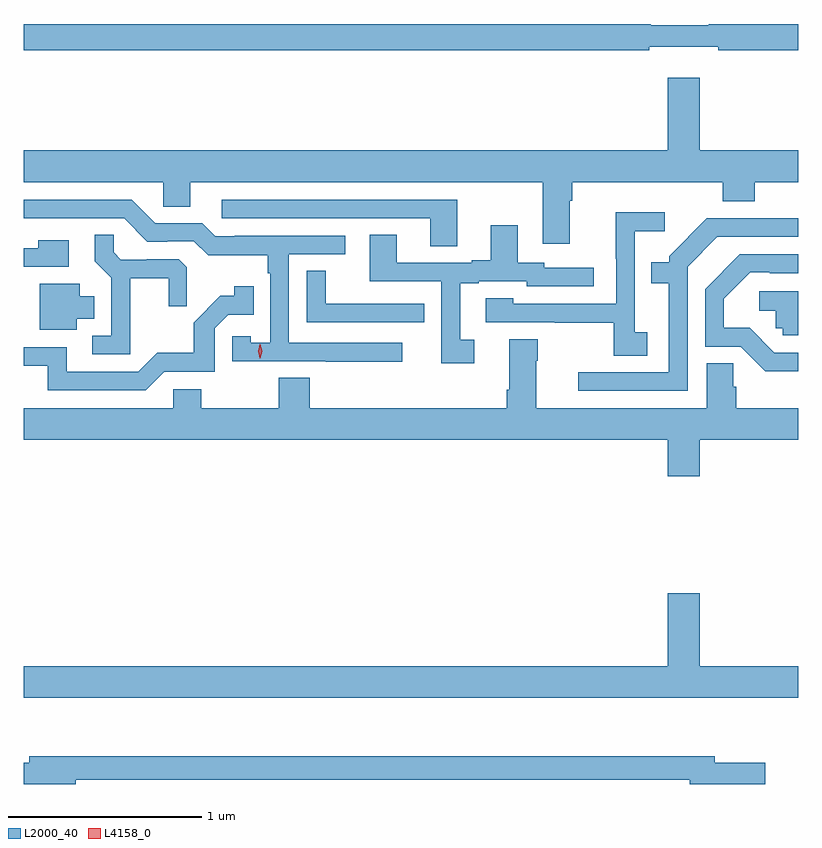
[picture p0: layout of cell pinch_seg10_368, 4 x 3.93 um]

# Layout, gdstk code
import gdstk
lib = gdstk.Library(unit=1e-6, precision=1e-09)
def P(c, l, *ps):  # polygons
    for p in ps: c.add(gdstk.Polygon(p, *l))
L2000_40 = (2000, 40)
L4158_0 = (4158, 0)

pinch_seg10_368 = lib.new_cell('pinch_seg10_368')
P(pinch_seg10_368, L2000_40, [(524.552,1274.375),(524.908,1274.375),(524.908,1274.356),(525.322,1274.356),(525.322,1274.492),(524.86,1274.492),(524.86,1274.485),(524.56,1274.485),(524.56,1274.492),(521.322,1274.492),(521.322,1274.356),(524.552,1274.356)],
  [(524.143,1273.58),(524.156,1273.58),(524.156,1273.676),(524.933,1273.676),(524.933,1273.577),(525.098,1273.577),(525.098,1273.676),(525.322,1273.676),(525.322,1273.84),(524.812,1273.84),(524.812,1274.215),(524.648,1274.215),(524.648,1273.84),(521.322,1273.84),(521.322,1273.676),(522.042,1273.676),(522.042,1273.549),(522.181,1273.549),(522.181,1273.676),(524.003,1273.676),(524.003,1273.356),(524.143,1273.356)],
  [(523.561,1273.584),(522.345,1273.584),(522.345,1273.488),(523.421,1273.488),(523.421,1273.345),(523.561,1273.345)],
  [(523.276,1272.846),(522.69,1272.846),(522.69,1273.302),(522.982,1273.302),(522.982,1273.398),(522.412,1273.398),(522.412,1273.395),(522.312,1273.395),(522.243,1273.464),(522,1273.464),(521.88,1273.584),(521.322,1273.584),(521.322,1273.488),(521.841,1273.488),(521.961,1273.368),(522.062,1273.368),(522.062,1273.371),(522.201,1273.371),(522.274,1273.298),(522.582,1273.298),(522.582,1273.205),(522.594,1273.205),(522.594,1272.847),(522.495,1272.847),(522.495,1272.879),(522.399,1272.879),(522.399,1272.75),(522.883,1272.75),(522.883,1272.748),(523.276,1272.748)],
  [(524.542,1272.9),(524.478,1272.9),(524.478,1273.421),(524.632,1273.421),(524.632,1273.519),(524.38,1273.519),(524.38,1273.28),(524.382,1273.28),(524.382,1273.047),(523.851,1273.047),(523.851,1273.075),(523.707,1273.075),(523.707,1272.951),(524.065,1272.951),(524.065,1272.949),(524.37,1272.949),(524.37,1272.778),(524.542,1272.778)],
  [(524.751,1273.239),(524.904,1273.392),(525.322,1273.392),(525.322,1273.49),(525.181,1273.49),(525.181,1273.488),(524.85,1273.488),(524.655,1273.293),(524.655,1273.261),(524.563,1273.261),(524.563,1273.152),(524.654,1273.152),(524.654,1272.693),(524.187,1272.693),(524.187,1272.597),(524.751,1272.597)],
  [(523.648,1272.861),(523.576,1272.861),(523.576,1273.152),(523.672,1273.152),(523.672,1273.164),(523.92,1273.164),(523.92,1273.137),(524.266,1273.137),(524.266,1273.233),(524.01,1273.233),(524.01,1273.26),(523.873,1273.26),(523.873,1273.453),(523.733,1273.453),(523.733,1273.273),(523.637,1273.273),(523.637,1273.26),(523.249,1273.26),(523.249,1273.403),(523.109,1273.403),(523.109,1273.164),(523.479,1273.164),(523.479,1272.741),(523.648,1272.741)],
  [(521.873,1273.178),(522.07,1273.178),(522.07,1273.035),(522.164,1273.035),(522.164,1273.237),(522.123,1273.278),(521.958,1273.278),(521.958,1273.275),(521.824,1273.275),(521.787,1273.312),(521.787,1273.403),(521.689,1273.403),(521.689,1273.267),(521.775,1273.181),(521.775,1272.882),(521.676,1272.882),(521.676,1272.786),(521.873,1272.786)],
  [(521.554,1273.375),(521.398,1273.375),(521.398,1273.335),(521.322,1273.335),(521.322,1273.239),(521.554,1273.239)],
  [(525.322,1272.795),(525.198,1272.795),(525.071,1272.922),(524.938,1272.922),(524.938,1273.072),(525.075,1273.209),(525.175,1273.209),(525.175,1273.206),(525.322,1273.206),(525.322,1273.302),(525.02,1273.302),(524.841,1273.123),(524.841,1272.825),(525.024,1272.825),(525.152,1272.698),(525.322,1272.698)],
  [(523.39,1273.046),(523.277,1273.046),(523.277,1273.047),(522.882,1273.047),(522.882,1273.217),(522.783,1273.217),(522.783,1272.951),(523.39,1272.951)],
  [(521.596,1272.971),(521.686,1272.971),(521.686,1273.087),(521.611,1273.087),(521.611,1273.15),(521.405,1273.15),(521.405,1272.914),(521.596,1272.914)],
  [(522.048,1272.696),(522.309,1272.696),(522.309,1272.921),(522.378,1272.99),(522.509,1272.99),(522.509,1273.138),(522.408,1273.138),(522.408,1273.088),(522.338,1273.088),(522.201,1272.95),(522.201,1272.795),(522.012,1272.795),(521.913,1272.696),(521.545,1272.696),(521.545,1272.822),(521.322,1272.822),(521.322,1272.726),(521.447,1272.726),(521.447,1272.6),(521.952,1272.6)],
  [(525.322,1273.113),(525.12,1273.113),(525.12,1273.01),(525.207,1273.01),(525.207,1272.921),(525.243,1272.921),(525.243,1272.885),(525.322,1272.885)],
  [(524.812,1272.344),(525.322,1272.344),(525.322,1272.508),(525.002,1272.508),(525.002,1272.618),(524.987,1272.618),(524.987,1272.74),(524.849,1272.74),(524.849,1272.508),(523.969,1272.508),(523.969,1272.752),(523.977,1272.752),(523.977,1272.865),(523.829,1272.865),(523.829,1272.604),(523.817,1272.604),(523.817,1272.508),(522.8,1272.508),(522.8,1272.665),(522.64,1272.665),(522.64,1272.508),(522.24,1272.508),(522.24,1272.606),(522.093,1272.606),(522.093,1272.508),(521.322,1272.508),(521.322,1272.344),(524.648,1272.344),(524.648,1272.156),(524.812,1272.156)],
  [(525.322,1271.176),(524.812,1271.176),(524.812,1271.551),(524.648,1271.551),(524.648,1271.176),(521.322,1271.176),(521.322,1271.012),(525.322,1271.012)],
  [(521.59,1270.59),(524.762,1270.59),(524.762,1270.567),(525.151,1270.567),(525.151,1270.677),(524.89,1270.677),(524.89,1270.711),(521.351,1270.711),(521.351,1270.677),(521.322,1270.677),(521.322,1270.567),(521.59,1270.567)])
P(pinch_seg10_368, L4158_0, [(522.542,1272.765),(522.533,1272.801),(522.542,1272.837),(522.543,1272.837),(522.543,1272.837),(522.553,1272.801),(522.543,1272.765),(522.543,1272.765)])

lib.write_gds('pinch_seg10_368.gds')
